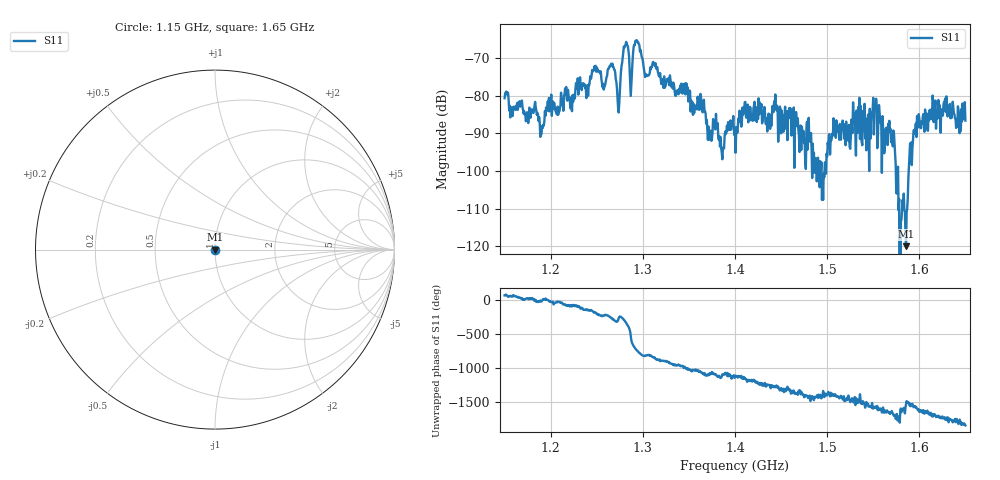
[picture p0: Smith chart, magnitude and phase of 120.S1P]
! C:\Users\rflab\Downloads\Lab5_KD_ZW\Q2\120.S1P
! Touchstone 1.1 file saved by VNA.EXE V1.65 (www.ke5fx.com/gpib/readme.htm)
! 11/12/2024 1:20:34 AM
!  Source: HEWLETT PACKARD,8753D,0,6.14
!  Min freq: 1.150000E+009 Hz
!  Max freq: 1.650000E+009 Hz
!  Points: 801
!  Params: S21
# GHZ S RI R 50
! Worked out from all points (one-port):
!   801 points, 1.15 GHz to 1.65 GHz, reference 50 ohm
!   lowest |S11| = -120.0 dB at 1.586 GHz (marker M1), VSWR 1.00, Z = 50 - j0.0001 ohm
!   |S11| at or under -10 dB: start of sweep to end of sweep
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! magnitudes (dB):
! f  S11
! 1.15 GHz  -80.6
! 1.212 GHz  -81.6
! 1.23 GHz  -79.7
! 1.24 GHz  -77.8
! 1.248 GHz  -73.0
! 1.258 GHz  -78.3
! 1.266 GHz  -72.1
! 1.272 GHz  -80.4
! 1.275 GHz  -78.8
! 1.281 GHz  -66.7
! 1.282 GHz  -66.0
! 1.287 GHz  -80.0
! 1.289 GHz  -71.2
! 1.291 GHz  -66.5
! 1.294 GHz  -65.3
! 1.304 GHz  -74.4
! 1.313 GHz  -72.0
! 1.322 GHz  -75.5
! 1.328 GHz  -75.8
! 1.337 GHz  -78.5
! 1.346 GHz  -79.6
! 1.354 GHz  -85.1
! 1.4 GHz  -88.4
! 1.462 GHz  -84.0
! 1.525 GHz  -94.1
! 1.586 GHz  -120.0
! 1.587 GHz  -107.0
! 1.65 GHz  -86.6
